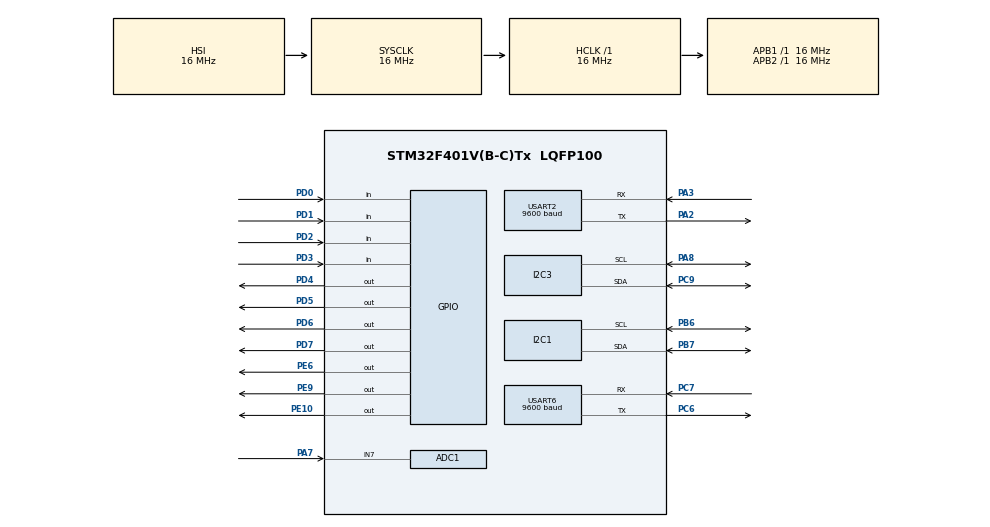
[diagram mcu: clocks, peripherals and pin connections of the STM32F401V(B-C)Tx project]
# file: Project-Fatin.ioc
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ADC1.Channel-1\#ChannelRegularConversion=ADC_CHANNEL_7
ADC1.ContinuousConvMode=ENABLE
ADC1.NbrOfConversionFlag=1
ADC1.Rank-1\#ChannelRegularConversion=1
ADC1.Resolution=ADC_RESOLUTION_12B
ADC1.SamplingTime-1\#ChannelRegularConversion=ADC_SAMPLETIME_3CYCLES
ADC1.master=1
Mcu.Family=STM32F4
Mcu.Name=STM32F401V(B-C)Tx
Mcu.Package=LQFP100
NVIC.PriorityGroup=NVIC_PRIORITYGROUP_4
NVIC.TIM4_IRQn=true\:0\:0\:false\:false\:true\:true\:true\:true
PA13.Mode=Serial_Wire
PA13.Signal=SYS_JTMS-SWDIO
PA14.Mode=Serial_Wire
PA14.Signal=SYS_JTCK-SWCLK
PA2.Mode=Asynchronous
PA2.Signal=USART2_TX
PA3.Mode=Asynchronous
PA3.Signal=USART2_RX
PA7.Signal=ADCx_IN7
PA8.Mode=I2C
PA8.Signal=I2C3_SCL
PB6.Mode=I2C
PB6.Signal=I2C1_SCL
PB7.Mode=I2C
PB7.Signal=I2C1_SDA
PC6.Mode=Asynchronous
PC6.Signal=USART6_TX
PC7.Mode=Asynchronous
PC7.Signal=USART6_RX
PC9.Mode=I2C
PC9.Signal=I2C3_SDA
PD0.GPIO_PuPd=GPIO_PULLUP
PD0.Signal=GPIO_Input
PD1.GPIO_PuPd=GPIO_PULLUP
PD1.Signal=GPIO_Input
PD2.GPIO_PuPd=GPIO_PULLUP
PD2.Signal=GPIO_Input
PD3.GPIO_PuPd=GPIO_PULLUP
PD3.Signal=GPIO_Input
PD4.Signal=GPIO_Output
PD5.Signal=GPIO_Output
PD6.Signal=GPIO_Output
PD7.Signal=GPIO_Output
PE10.Signal=GPIO_Output
PE6.Signal=GPIO_Output
PE9.Signal=GPIO_Output
ProjectManager.HeapSize=0x200
ProjectManager.StackSize=0x400
ProjectManager.TargetToolchain=MDK-ARM V5
RCC.48MHZClocksFreq_Value=32000000
RCC.AHBFreq_Value=16000000
RCC.APB1Freq_Value=16000000
RCC.APB1TimFreq_Value=16000000
RCC.APB2Freq_Value=16000000
RCC.APB2TimFreq_Value=16000000
RCC.CortexFreq_Value=16000000
RCC.HCLKFreq_Value=16000000
RCC.HSE_VALUE=25000000
RCC.HSI_VALUE=16000000
RCC.LSE_VALUE=32768
RCC.PLLM=8
RCC.PLLN=64
RCC.SYSCLKFreq_VALUE=16000000
RCC.VCOOutputFreq_Value=128000000
SH.ADCx_IN7.0=ADC1_IN7,IN7
TIM4.Period=1000
TIM4.Prescaler=16000
USART2.BaudRate=9600
USART2.VirtualMode=VM_ASYNC
USART6.BaudRate=9600
USART6.VirtualMode=VM_ASYNC
VP_TIM4_VS_ClockSourceINT.Mode=Internal
board=custom

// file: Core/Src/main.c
/* USER CODE BEGIN Header */
/**
  ******************************************************************************
  * @file           : main.c
  * @brief          : Main program body
  ******************************************************************************
  * @attention
  *
  * Copyright (c) 2022 STMicroelectronics.
  * All rights reserved.
  *
  * This software is licensed under terms that can be found in the LICENSE file
  * in the root directory of this software component.
  * If no LICENSE file comes with this software, it is provided AS-IS.
  *
  ******************************************************************************
  */
/* USER CODE END Header */
#include "main.h"

/* USER CODE BEGIN Includes */
#include "lcd_i2cModule.h"
#include <stdio.h>
#include "string.h"
#include <math.h>
#include <stdarg.h>

/* USER CODE END Includes */

/* USER CODE BEGIN PD */
#define R1_PORT GPIOD
#define R1_PIN GPIO_PIN_7

#define R2_PORT GPIOD
#define R2_PIN GPIO_PIN_6

#define R3_PORT GPIOD
#define R3_PIN GPIO_PIN_5

#define R4_PORT GPIOD
#define R4_PIN GPIO_PIN_4

#define C1_PORT GPIOD
#define C1_PIN GPIO_PIN_3

#define C2_PORT GPIOD
#define C2_PIN GPIO_PIN_2

#define C3_PORT GPIOD
#define C3_PIN GPIO_PIN_1

#define C4_PORT GPIOD
#define C4_PIN GPIO_PIN_0

#define DS3231_ADDRESS 0xD0

#define avg 50

/* USER CODE END PD */

ADC_HandleTypeDef hadc1;

I2C_HandleTypeDef hi2c1;
I2C_HandleTypeDef hi2c3;

TIM_HandleTypeDef htim4;

UART_HandleTypeDef huart2;
UART_HandleTypeDef huart6;

/* USER CODE BEGIN PV */
struct {
	float voltage;
	float current;
	float power;
	float energy;
	float frequency;
	float pf;
	uint16_t alarms;
} currentValues;
struct {
	int seconds;
	int minutes;
	int hour;
	int dayofweek;
	int dayofmonth;
	int month;
	int year;
} time;

uint8_t buf[8] = { 0xF8, 0x04, 0x00, 0x00, 0x00, 0x0A, 0x64, 0x64 };
uint8_t rst_buf[4] = { 0xF8, 0x42, 0xC2, 0x41 };
uint8_t res_buf[25];
int ADC_VAL;
int ADC_res;
double adc_min = 0, adc_max = 0;
/* USER CODE END PV */

void SystemClock_Config(void);
static void MX_GPIO_Init(void);
static void MX_I2C3_Init(void);
static void MX_USART2_UART_Init(void);
static void MX_ADC1_Init(void);
static void MX_TIM4_Init(void);
static void MX_USART6_UART_Init(void);
static void MX_I2C1_Init(void);
/* USER CODE BEGIN PFP */
// Convert normal decimal numbers to binary coded decimal
uint8_t decToBcd(int val)
{
  return (uint8_t)( (val/10*16) + (val%10) );
}
// Convert binary coded decimal to normal decimal numbers
int bcdToDec(uint8_t val)
{
  return (int)( (val/16*10) + (val%16) );
}
void Set_Time (uint8_t sec, uint8_t min, uint8_t hour, uint8_t dow, uint8_t dom, uint8_t month, uint8_t year)
{
	uint8_t set_time[7];
	set_time[0] = decToBcd(sec);
	set_time[1] = decToBcd(min);
	set_time[2] = decToBcd(hour);
	set_time[3] = decToBcd(dow);
	set_time[4] = decToBcd(dom);
	set_time[5] = decToBcd(month);
	set_time[6] = decToBcd(year);

	HAL_I2C_Mem_Write(&hi2c1, DS3231_ADDRESS, 0x00, 1, set_time, 7, 1000);
}

void Get_Time (void)
{
	uint8_t get_time[7];
	HAL_I2C_Mem_Read(&hi2c1, DS3231_ADDRESS, 0x00, 1, get_time, 7, 1000);
	time.seconds = bcdToDec(get_time[0]);
	time.minutes = bcdToDec(get_time[1]);
	time.hour = bcdToDec(get_time[2]);
	time.dayofweek = bcdToDec(get_time[3]);
	time.dayofmonth = bcdToDec(get_time[4]);
	time.month = bcdToDec(get_time[5]);
	time.year = bcdToDec(get_time[6]);
}

/* USER CODE END PFP */

/* USER CODE BEGIN 0 */
char read_keypads(void)
{
	HAL_GPIO_WritePin(R1_PORT, R1_PIN, GPIO_PIN_RESET);
	HAL_GPIO_WritePin(R2_PORT, R2_PIN, GPIO_PIN_SET);
	HAL_GPIO_WritePin(R3_PORT, R3_PIN, GPIO_PIN_SET);
	HAL_GPIO_WritePin(R4_PORT, R4_PIN, GPIO_PIN_SET);

	if (HAL_GPIO_ReadPin(C1_PORT, C1_PIN)==GPIO_PIN_RESET)
	{
		if(HAL_GPIO_ReadPin(C1_PORT, C1_PIN) == GPIO_PIN_RESET)
		{
			return '1';
		}
	}
	if (HAL_GPIO_ReadPin(C2_PORT, C2_PIN)==GPIO_PIN_RESET)
	{
		if(HAL_GPIO_ReadPin(C2_PORT, C2_PIN) == GPIO_PIN_RESET)
		{
			return '2';
		}
	}
	if (HAL_GPIO_ReadPin(C3_PORT, C3_PIN)==GPIO_PIN_RESET)
	{
		if(HAL_GPIO_ReadPin(C3_PORT, C3_PIN) == GPIO_PIN_RESET)
		{
			return '3';
		}
	}
	if (HAL_GPIO_ReadPin(C4_PORT, C4_PIN)==GPIO_PIN_RESET)
	{
		if(HAL_GPIO_ReadPin(C4_PORT, C4_PIN) == GPIO_PIN_RESET)
		{
			return 'a';
		}
	}

	HAL_GPIO_WritePin(R1_PORT, R1_PIN, GPIO_PIN_SET);
	HAL_GPIO_WritePin(R2_PORT, R2_PIN, GPIO_PIN_RESET);
	HAL_GPIO_WritePin(R3_PORT, R3_PIN, GPIO_PIN_SET);
	HAL_GPIO_WritePin(R4_PORT, R4_PIN, GPIO_PIN_SET);

	if (HAL_GPIO_ReadPin(C1_PORT, C1_PIN)==GPIO_PIN_RESET)
	{
		if(HAL_GPIO_ReadPin(C1_PORT, C1_PIN) == GPIO_PIN_RESET)
		{
			return '4';
		}
	}
	if (HAL_GPIO_ReadPin(C2_PORT, C2_PIN)==GPIO_PIN_RESET)
	{
		if(HAL_GPIO_ReadPin(C2_PORT, C2_PIN) == GPIO_PIN_RESET)
		{
			return '5';
		}
	}
	if (HAL_GPIO_ReadPin(C3_PORT, C3_PIN)==GPIO_PIN_RESET)
	{
		if(HAL_GPIO_ReadPin(C3_PORT, C3_PIN) == GPIO_PIN_RESET)
		{
			return '6';
		}
	}
	if (HAL_GPIO_ReadPin(C4_PORT, C4_PIN)==GPIO_PIN_RESET)
	{
		if(HAL_GPIO_ReadPin(C4_PORT, C4_PIN) == GPIO_PIN_RESET)
		{
			return 'b';
		}
	}

	HAL_GPIO_WritePin(R1_PORT, R1_PIN, GPIO_PIN_SET);
	HAL_GPIO_WritePin(R2_PORT, R2_PIN, GPIO_PIN_SET);
	HAL_GPIO_WritePin(R3_PORT, R3_PIN, GPIO_PIN_RESET);
	HAL_GPIO_WritePin(R4_PORT, R4_PIN, GPIO_PIN_SET);

	if (HAL_GPIO_ReadPin(C1_PORT, C1_PIN)==GPIO_PIN_RESET)
	{
		if(HAL_GPIO_ReadPin(C1_PORT, C1_PIN) == GPIO_PIN_RESET)
		{
			return '7';
		}
	}
	if (HAL_GPIO_ReadPin(C2_PORT, C2_PIN)==GPIO_PIN_RESET)
	{
		if(HAL_GPIO_ReadPin(C2_PORT, C2_PIN) == GPIO_PIN_RESET)
		{
			return '8';
		}
	}
	if (HAL_GPIO_ReadPin(C3_PORT, C3_PIN)==GPIO_PIN_RESET)
	{
		if(HAL_GPIO_ReadPin(C3_PORT, C3_PIN) == GPIO_PIN_RESET)
		{
			return '9';
		}
	}
	if (HAL_GPIO_ReadPin(C4_PORT, C4_PIN)==GPIO_PIN_RESET)
	{
		if(HAL_GPIO_ReadPin(C4_PORT, C4_PIN) == GPIO_PIN_RESET)
		{
			return 'c';
		}
	}

	HAL_GPIO_WritePin(R1_PORT, R1_PIN, GPIO_PIN_SET);
	HAL_GPIO_WritePin(R2_PORT, R2_PIN, GPIO_PIN_SET);
	HAL_GPIO_WritePin(R3_PORT, R3_PIN, GPIO_PIN_SET);
	HAL_GPIO_WritePin(R4_PORT, R4_PIN, GPIO_PIN_RESET);

	if (HAL_GPIO_ReadPin(C1_PORT, C1_PIN)==GPIO_PIN_RESET)
	{
		if(HAL_GPIO_ReadPin(C1_PORT, C1_PIN) == GPIO_PIN_RESET)
		{
			return '*';
		}
	}
	if (HAL_GPIO_ReadPin(C2_PORT, C2_PIN)==GPIO_PIN_RESET)
	{
		if(HAL_GPIO_ReadPin(C2_PORT, C2_PIN) == GPIO_PIN_RESET)
		{
			return '0';
		}
	}
	if (HAL_GPIO_ReadPin(C3_PORT, C3_PIN)==GPIO_PIN_RESET)
	{
		if(HAL_GPIO_ReadPin(C3_PORT, C3_PIN) == GPIO_PIN_RESET)
		{
			return '#';
		}
	}
	if (HAL_GPIO_ReadPin(C4_PORT, C4_PIN)==GPIO_PIN_RESET)
	{
		if(HAL_GPIO_ReadPin(C4_PORT, C4_PIN) == GPIO_PIN_RESET)
		{
			return 'd';
		}
	}
	return 0x01;
}

int result;

int ADC_GetData(){
		ADC_ChannelConfTypeDef sConfig = {0};
	  sConfig.Channel = ADC_CHANNEL_7;
	  sConfig.Rank = 1;
	  sConfig.SamplingTime = ADC_SAMPLETIME_3CYCLES;
	  if (HAL_ADC_ConfigChannel(&hadc1, &sConfig) != HAL_OK)
	  {
	    Error_Handler();
	  }
	  HAL_ADC_Start(&hadc1);
	  HAL_ADC_PollForConversion(&hadc1, 100);
	  result = HAL_ADC_GetValue(&hadc1);
	  HAL_ADC_Stop(&hadc1);
		return result;
}

double irms;
int sampleI;
int debugg = 555;

#define ADC_COUNTS  (1<<12)
double offsetI = ADC_COUNTS>>1;
double offsetADC = ADC_COUNTS>>1;
double filteredI;
double sqI;
double Irms;
double sumI;
double ICAL = 30;
uint8_t cmd[500]={0};
uint8_t printLen=0;
//--------------------------------------------------------------------------------------
double calcIrms(unsigned int Number_of_Samples)
{
  int SupplyVoltage=3300;

  for (unsigned int n = 0; n < Number_of_Samples; n++)
  {
    //sampleI = analogRead(inPinI);
    sampleI = ADC_GetData();

    // Digital low pass filter extracts the 2.5 V or 1.65 V dc offset,
    //  then subtract this - signal is now centered on 0 counts.
    offsetI = (offsetI + (sampleI-offsetI)/4096);

    // data yang sudah dikurang dengan offset
		filteredI = sampleI - offsetI;

    // Root-mean-square method current
    // 1) square current values
    sqI = filteredI * filteredI;
    // 2) sum (data akumulasi dari keseluruhan sampel)
    sumI += sqI;

		// sprintf(cmd,"%d\n",sampleI-2200);
		// HAL_UART_Transmit(&huart6,(uint8_t *)cmd,strlen(cmd),5);
  }
	double ADCrms = sqrt(sumI / Number_of_Samples);

	// konversi ke satuan (A) * kalibrasi
	double I_RATIO = ICAL * ((SupplyVoltage/1000.0) / (ADC_COUNTS));
  Irms = I_RATIO * ADCrms;

  //Reset accumulators
  sumI = 0;
  //-------------------------------------------------------------------------------------
  return Irms;
}

uint8_t key;
int timer_s = 99;
int timer_m = 99;
int timer_h = 99;
long double daya = 0;
long double daya_akumulasi = 0;
long double energy_akumulasi = 0.0;
long double tarif = 0;
long int s_waktu = 0, s_daya = 0, s_psswd = 0;
char s_nopln[13];
int buzz = 0, buzzernotif = 0;
int system_mode = 0;

uint8_t buffer[30] = {0};
/* USER CODE END 0 */

int main(void)
{
  /* USER CODE BEGIN 1 */
	double v, i;
	char rs1[20], rs2[20], rs3[20], rs4[20];
	char buff[16];
	int sms = 1;
	int set_end = 0;

	int h_start, m_start, s_start, day_start, month_start, year_start;
	int h_end, m_end, s_end, day_end, month_end, year_end;

	// gsm
	char msg[30];

  /* USER CODE END 1 */

  /* MCU Configuration--------------------------------------------------------*/

  /* Reset of all peripherals, Initializes the Flash interface and the Systick. */
  HAL_Init();

  /* Configure the system clock */
  SystemClock_Config();

  /* Initialize all configured peripherals */
  MX_GPIO_Init();
  MX_I2C3_Init();
  MX_USART2_UART_Init();
  MX_ADC1_Init();
  MX_TIM4_Init();
  MX_USART6_UART_Init();
  MX_I2C1_Init();
  /* USER CODE BEGIN 2 */

	LCD_i2cDeviceCheck();
	LCD_Init();
	LCD_BackLight(LCD_BL_ON);
	HAL_TIM_Base_Start_IT(&htim4);
	LCD_Clear();
  /* USER CODE END 2 */

  /* Infinite loop */
  /* USER CODE BEGIN WHILE */
	HAL_GPIO_WritePin(GPIOE, GPIO_PIN_6, GPIO_PIN_SET);

	// set waktu
	// parameter (detik, menit, jam, 0, tanggal, bulan, tahun)
	// Set_Time(00, 13, 22, 0, 2, 1, 23);
  while (1)
  {
    /* USER CODE END WHILE */

    /* USER CODE BEGIN 3 */

		// read PZEM

		HAL_UART_Transmit(&huart2, buf, 8, 20);
		HAL_UART_Receive(&huart2, res_buf, 25, 250);
		currentValues.voltage = ((uint32_t)res_buf[3] << 8 | // Raw voltage in 0.1V
														 (uint32_t)res_buf[4])/10.0;

		currentValues.current = ((uint32_t)res_buf[5] << 8 | // Raw current in 0.001A
														 (uint32_t)res_buf[6] |
														 (uint32_t)res_buf[7] << 24 |
														 (uint32_t)res_buf[8] << 16) / 1000.0;

		currentValues.power =   ((uint32_t)res_buf[9] << 8 | // Raw power in 0.1W
														 (uint32_t)res_buf[10] |
														 (uint32_t)res_buf[11] << 24 |
														 (uint32_t)res_buf[12] << 16) / 10.0;

		currentValues.energy =  ((uint32_t)res_buf[13] << 8 | // Raw Energy in 1Wh
														 (uint32_t)res_buf[14] |
														 (uint32_t)res_buf[15] << 24 |
														 (uint32_t)res_buf[16] << 16) / 1000.0;

		currentValues.frequency=((uint32_t)res_buf[17] << 8 | // Raw Frequency in 0.1Hz
														 (uint32_t)res_buf[18]) / 10.0;

		currentValues.pf =      ((uint32_t)res_buf[19] << 8 | // Raw pf in 0.01
														 (uint32_t)res_buf[20])/100.0;

		currentValues.alarms =  ((uint32_t)res_buf[21] << 8 | // Raw alarm value
														 (uint32_t)res_buf[22]);

		// read sct
		irms = calcIrms(10000);
		if(irms < 0.05)
			irms = 0.0;
		else if((irms > 0.05)&&(irms < 0.5))
			irms = irms - 0.05;
		else if(irms > 0.5)
			irms *= 0.92;

		if(irms < 0.05)
			irms = 0.0;

		// regresi linear
		// double Irms_baru = 0.9706 * irms + 0.03379;

		double Irms_baru = irms;

		/*
		sprintf(rs1," I=%.2fA", Irms_baru);
		LCD_SetCursor(1,1);
		LCD_Send_String(rs1, STR_NOSLIDE);
		sprintf(rs2," V=%.2fV", currentValues.voltage);
		LCD_SetCursor(2,1);
		LCD_Send_String(rs2, STR_NOSLIDE);
		sprintf(rs3," Cos Phi=%.2f", currentValues.pf);
		LCD_SetCursor(3,1);
		LCD_Send_String(rs3, STR_NOSLIDE);
		HAL_GPIO_WritePin(GPIOE, GPIO_PIN_9, GPIO_PIN_SET);
		*/

		if (system_mode == 0)
		{
			while(1)
			{
				HAL_GPIO_WritePin(GPIOE, GPIO_PIN_9, GPIO_PIN_RESET);
				LCD_SetCursor(1,1);
				LCD_Send_String("Waktu (menit):", STR_NOSLIDE);
				LCD_SetCursor(2,1);
				LCD_Send_String("> ", STR_NOSLIDE);
				LCD_SetCursor(4,1);
				LCD_Send_String("C: clear | D: submit", STR_NOSLIDE);
				key = read_keypads();
				if(key!=0x01)
				{
					if(key=='d')
					{
						timer_s = 0;
						if(s_waktu >= 60){
							timer_m = s_waktu%60;
							timer_h = (s_waktu-(s_waktu%60))/60;
						}
						else {
							timer_m = s_waktu;
							timer_h = 0;
						}
						system_mode = 1;
						LCD_Clear();
						HAL_Delay(200);
						break;
					}
					else if(key == 'c')
					{
						s_waktu = 0;
						LCD_Clear();
						continue;
					}
					else
					{
						LCD_SetCursor(2,3);
						s_waktu = s_waktu * 10 + ((int)key-48);
						sprintf(buff, "%ld", s_waktu);
						LCD_Send_String(buff, STR_NOSLIDE);
						HAL_Delay(200);
					}
				}
			}
		}
		else if(system_mode == 1)
		{
			while(1)
			{
				LCD_SetCursor(1,1);
				LCD_Send_String("Daya (VA) :", STR_NOSLIDE);
				LCD_SetCursor(2,1);
				LCD_Send_String("> ", STR_NOSLIDE);
				LCD_SetCursor(3,1);
				LCD_Send_String("           B: back", STR_NOSLIDE);
				LCD_SetCursor(4,1);
				LCD_Send_String("C: clear | D: submit", STR_NOSLIDE);
				key = read_keypads();
				if(key!=0x01)
				{
					if(key=='d')
					{
						// untuk set daya bebas
						if (1){

						// set pilihan daya hanya untuk 2200, 3500, 5500
						//if ((s_daya == 2200)||(s_daya == 3500)||(s_daya == 5500)){

							system_mode = 2;
							LCD_Clear();
							HAL_Delay(200);
							break;
						}
						else {
							LCD_Clear();
							LCD_SetCursor(1,1);
							LCD_Send_String("-Daya Tidak Valid!-", STR_NOSLIDE);
							s_daya = 0;
							HAL_Delay(2000);
							LCD_Clear();
						}
					}
					else if(key == 'c')
					{
						s_daya = 0;
						LCD_Clear();
						continue;
					}
					else if(key == 'b')
					{
						s_daya = 0;
						s_waktu = 0;
						system_mode = 0;
						LCD_Clear();
						break;
					}
					else
					{
						LCD_SetCursor(2,3);
						s_daya = s_daya *10 + ((int)key-48);
						sprintf(buff, "%ld", s_daya);
						LCD_Send_String(buff, STR_NOSLIDE);
						HAL_Delay(200);
					}
				}
			}
		}
		else if(system_mode == 2)
		{
			while(1)
			{
				HAL_GPIO_WritePin(GPIOA, GPIO_PIN_4, GPIO_PIN_RESET);
				LCD_SetCursor(1,1);
				LCD_Send_String("No Hp PLN :", STR_NOSLIDE);
				LCD_SetCursor(2,1);
				LCD_Send_String("> ", STR_NOSLIDE);
				LCD_SetCursor(3,1);
				LCD_Send_String("           B: back", STR_NOSLIDE);
				LCD_SetCursor(4,1);
				LCD_Send_String("C: clear | D: submit", STR_NOSLIDE);
				key = read_keypads();
				if(key!=0x01)
				{
					if(key=='d')
					{
						system_mode = 3;
						LCD_Clear();
						HAL_Delay(200);
						break;
					}
					else if(key == 'c')
					{
						int x = 0;
						for(x = 0; x < 13; x++)
							s_nopln[x] = NULL;
						LCD_Clear();
						continue;
					}
					else if(key == 'b')
					{
						for(int x = 0; x < 13; x++)
							s_nopln[x] = NULL;
						s_daya = 0;
						system_mode = 1;
						LCD_Clear();
						break;
					}
					else
					{
						LCD_SetCursor(2,3);
						char inp = key;
						strncat(s_nopln, &inp, 1);
						sprintf(buff, "%s", s_nopln);
						LCD_Send_String(buff, STR_NOSLIDE);
						HAL_Delay(200);
					}
				}
			}
		}
		else if(system_mode == 3)
		{
			while(1)
			{
				HAL_GPIO_WritePin(GPIOA, GPIO_PIN_4, GPIO_PIN_RESET);
				LCD_SetCursor(1,1);
				LCD_Send_String("Password : ", STR_NOSLIDE);
				LCD_SetCursor(2,1);
				LCD_Send_String("> ", STR_NOSLIDE);
				LCD_SetCursor(3,1);
				LCD_Send_String("           B: back", STR_NOSLIDE);
				LCD_SetCursor(4,1);
				LCD_Send_String("C: clear | D: submit", STR_NOSLIDE);
				key = read_keypads();
				if(key!=0x01)
				{
					if(key=='d')
					{
						sms = 1;
						if (s_psswd == 123456){
							system_mode = 5;
							Get_Time();
							h_start = time.hour;
							m_start = time.minutes;
							s_start = time.seconds;
							day_start = time.dayofmonth;
							month_start = time.month;
							year_start = time.year+2000;
						}
						else {
							LCD_Clear();
							LCD_SetCursor(1,1);
							LCD_Send_String("--Password Salah!!--", STR_NOSLIDE);
							s_psswd = 0;
							HAL_Delay(2000);
						}
						LCD_Clear();
						HAL_Delay(200);
						break;
					}
					else if(key == 'c')
					{
						s_psswd = 0;
						LCD_Clear();
						continue;
					}
					else if(key == 'b')
					{
						system_mode = 2;
						s_psswd = 0;
						for(int x = 0; x < 13; x++)
							s_nopln[x] = NULL;
						LCD_Clear();
						break;
					}
					else
					{
						LCD_SetCursor(2,3);
						s_psswd = s_psswd *10 + ((int)key-48);
						sprintf(buff, "%ld", s_psswd);
						LCD_Send_String(buff, STR_NOSLIDE);
						HAL_Delay(200);
					}
				}
			}
		}
		else if(system_mode == 4)
		{
			if(set_end == 0){
				Get_Time();
				h_end = time.hour;
				m_end = time.minutes;
				s_end = time.seconds;
				day_end = time.dayofmonth;
				month_end = time.month;
				year_end = time.year+2000;
				set_end = 1;
			}
			HAL_GPIO_WritePin(GPIOE, GPIO_PIN_6, GPIO_PIN_SET);
			HAL_GPIO_WritePin(GPIOE, GPIO_PIN_9, GPIO_PIN_RESET);
			LCD_Clear();

			sprintf(rs3,"Energy= %.4Lf kWh", energy_akumulasi/3600);
			if(tarif == 0.0)
				sprintf(rs4,"Tarif = Rp. 50000.0");
			else
				sprintf(rs4,"Tarif = Rp.%.2Lf", tarif+50000.0);

			LCD_SetCursor(1,1);
			LCD_Send_String("Penggunaan Selesai! ", STR_NOSLIDE);
			LCD_SetCursor(2,1);
			LCD_Send_String(rs3, STR_NOSLIDE);
			LCD_SetCursor(3,1);
			LCD_Send_String(rs4, STR_NOSLIDE);
			LCD_SetCursor(4,1);
			sprintf(buff, "Timer : %d:%d:%d", timer_h, timer_m, timer_s);
			LCD_Send_String(buff, STR_NOSLIDE);
			if(sms)
			{
				LCD_SetCursor(4,1);
				sprintf(rs1,"Check..");
				LCD_Send_String(rs1, STR_NOSLIDE);
				uint8_t flag=1;
				while(flag){
					printLen = snprintf((char*)cmd, 100, "AT\r\n");
					HAL_UART_Transmit(&huart6,cmd, printLen,1000);
					HAL_UART_Receive(&huart6, buffer, 30, 1000);
					HAL_Delay(500);

					if(strstr((char*)buffer, "OK")){
							flag=0;
					}
					HAL_Delay(500);
					memset(buffer,0,sizeof(buffer));
					flag=0;
				}
				sprintf(msg,"Send SMS...");
				LCD_SetCursor(4,1);
				LCD_Send_String(msg, STR_NOSLIDE);

				printLen = snprintf((char*)cmd, 100,"AT+CMGF=1\r\n");
				HAL_UART_Transmit(&huart6,cmd,printLen,1000);
				HAL_UART_Receive(&huart6, buffer, 30,1000);
				HAL_Delay(1000);

				printLen = snprintf((char*)cmd, 100, "AT+CSQ\r\n");
				HAL_UART_Transmit(&huart6,cmd,printLen,1000);
				HAL_UART_Receive(&huart6, buffer, 30,1000);
				HAL_Delay(1000);

				printLen = snprintf((char*)cmd, 100, "AT+CCID\r\n");
				HAL_UART_Transmit(&huart6,cmd,printLen,1000);
				HAL_UART_Receive(&huart6, buffer, 30,1000);
				HAL_Delay(1000);

				printLen = snprintf((char*)cmd, 100, "AT+CREG?\r\n");
				HAL_UART_Transmit(&huart6,cmd,printLen,1000);
				HAL_UART_Receive(&huart6, buffer, 30,1000);
				HAL_Delay(1000);

				memset(buffer,0,sizeof(buffer));

				printLen = snprintf((char*)cmd, 100, "AT+CMGS=\"%s\"\r\n", s_nopln);
				HAL_UART_Transmit(&huart6,cmd,printLen,50);
				HAL_Delay(100);
				printLen = snprintf((char*)cmd, 200, "Penggunaan Selesai!\nWaktu mulai   : %d:%d:%d %d-%d-%d \n"
					,h_start,m_start,s_start,day_start,month_start, year_start);
				HAL_UART_Transmit(&huart6, cmd, printLen, 100);
				HAL_Delay(100);
				printLen = snprintf((char*)cmd, 200, "Waktu selesai : %d:%d:%d %d-%d-%d \n"
					,h_end,m_end,s_end,day_end,month_end, year_end);
				HAL_UART_Transmit(&huart6, cmd, printLen, 100);
				HAL_Delay(100);

				printLen = snprintf((char*)cmd, 200, "Energy : %.3LfkW, Tarif : Rp. %.2Lf\n"
					,energy_akumulasi/3600.0, tarif+50000);
				HAL_UART_Transmit(&huart6, cmd, printLen, 100);

				printLen = snprintf((char*)cmd, 50, "%c", 26);
				HAL_UART_Transmit(&huart6, cmd, printLen, 50);

				HAL_Delay(100);
				HAL_UART_Receive(&huart6, buf, 30,1000);
				HAL_Delay(5000);

				LCD_Clear();
				LCD_SetCursor(4,1);
				sprintf(msg,"SMS Terkirim");
				LCD_Send_String(msg, STR_NOSLIDE);
				sms = 0;
			}
			key = read_keypads();
			if(key!=0x01)
				{
					if(key=='d')
					{
						system_mode = 0;
					}
					if(key=='a')
					{
						sms=1;
					}
				}
			HAL_Delay(2000);
		}
		else if (system_mode == 5){
			LCD_Clear();
			// relay
			HAL_GPIO_WritePin(GPIOE, GPIO_PIN_9, GPIO_PIN_SET);
			// read current from ADC pin

			v = currentValues.voltage;

			// i = currentValues.current;
			i = Irms_baru;

			sprintf(rs1,"V=%.2fV", v);
			sprintf(rs2," I=%.2fA", i);

			//daya = currentValues.power;
			daya = v*i;
			double limit = s_daya * 0.1;
			if(daya >= s_daya)
				system_mode = 6;
			if(daya >= s_daya-limit)
				buzzernotif = 1;
			if(daya <= s_daya-limit)
				buzzernotif = 0;

			if(daya > 100.0){
				long double dayakw = daya / 1000.0;
				sprintf(rs3,"Daya(pakai)=%.2Lf kW", dayakw);
			}
			else {
				sprintf(rs3,"Daya(pakai)=%.2Lf W", daya);
			}

			// sprintf(rs3,  "Energy = %.3Lf kWh",energy_akumulasi);
			if(tarif == 0.0)
				sprintf(rs4,"Tarif = Rp. 0.0");
			else if (tarif < 100.0)
				sprintf(rs4,"Tarif = Rp.%.4Lf", tarif);
			else
				sprintf(rs4,"Tarif = Rp.%.2Lf", tarif);

			LCD_SetCursor(1,1);
			LCD_Send_String(rs1, STR_NOSLIDE);
			LCD_SetCursor(1,11);
			LCD_Send_String(rs2, STR_NOSLIDE);
			LCD_SetCursor(2,1);
			LCD_Send_String(rs3, STR_NOSLIDE);
			LCD_SetCursor(3,1);
			LCD_Send_String(rs4, STR_NOSLIDE);
			LCD_SetCursor(4,1);
			sprintf(buff, "%d:%d:%d", timer_h, timer_m, timer_s);
			LCD_Send_String(buff, STR_NOSLIDE);
			LCD_SetCursor(4,11);
			sprintf(buff, "pf=%.2f", currentValues.pf);
			LCD_Send_String(buff, STR_NOSLIDE);

			key = read_keypads();
			if(key!=0x01)
			{
				if(key=='d')
				{
					system_mode = 4;
					Get_Time();
					h_end = time.hour;
					m_end = time.minutes;
					s_end = time.seconds;
					day_end = time.dayofmonth;
					month_end = time.month;
					year_end = time.year+2000;
				}
			}
		}

		else if(system_mode == 6)
		{
			HAL_GPIO_WritePin(GPIOE, GPIO_PIN_6, GPIO_PIN_SET);
			buzzernotif = 0;
			LCD_Clear();
			while(1)
			{
				HAL_GPIO_WritePin(GPIOE, GPIO_PIN_9, GPIO_PIN_RESET);
				LCD_SetCursor(1,1);
				LCD_Send_String("== Daya Berlebih! ==", STR_NOSLIDE);
				LCD_SetCursor(2,1);
				LCD_Send_String(" kurangi pemakaian! ", STR_NOSLIDE);
				LCD_SetCursor(3,1);
				LCD_Send_String("     (Tekan D)      ", STR_NOSLIDE);
				key = read_keypads();
				if(key!=0x01)
				{
					if(key=='d')
					{
						system_mode = 4;
						Get_Time();
						h_end = time.hour;
						m_end = time.minutes;
						s_end = time.seconds;
						day_end = time.dayofmonth;
						month_end = time.month;
						year_end = time.year+2000;
						LCD_Clear();
						break;
					}
				}
			}
		}

	}

  /* USER CODE END 3 */
}

void SystemClock_Config(void)
{
  RCC_OscInitTypeDef RCC_OscInitStruct = {0};
  RCC_ClkInitTypeDef RCC_ClkInitStruct = {0};

  /** Configure the main internal regulator output voltage
  */
  __HAL_RCC_PWR_CLK_ENABLE();
  __HAL_PWR_VOLTAGESCALING_CONFIG(PWR_REGULATOR_VOLTAGE_SCALE2);

  /** Initializes the RCC Oscillators according to the specified parameters
  * in the RCC_OscInitTypeDef structure.
  */
  RCC_OscInitStruct.OscillatorType = RCC_OSCILLATORTYPE_HSI;
  RCC_OscInitStruct.HSIState = RCC_HSI_ON;
  RCC_OscInitStruct.HSICalibrationValue = RCC_HSICALIBRATION_DEFAULT;
  RCC_OscInitStruct.PLL.PLLState = RCC_PLL_NONE;
  if (HAL_RCC_OscConfig(&RCC_OscInitStruct) != HAL_OK)
  {
    Error_Handler();
  }

  /** Initializes the CPU, AHB and APB buses clocks
  */
  RCC_ClkInitStruct.ClockType = RCC_CLOCKTYPE_HCLK|RCC_CLOCKTYPE_SYSCLK
                              |RCC_CLOCKTYPE_PCLK1|RCC_CLOCKTYPE_PCLK2;
  RCC_ClkInitStruct.SYSCLKSource = RCC_SYSCLKSOURCE_HSI;
  RCC_ClkInitStruct.AHBCLKDivider = RCC_SYSCLK_DIV1;
  RCC_ClkInitStruct.APB1CLKDivider = RCC_HCLK_DIV1;
  RCC_ClkInitStruct.APB2CLKDivider = RCC_HCLK_DIV1;

  if (HAL_RCC_ClockConfig(&RCC_ClkInitStruct, FLASH_LATENCY_0) != HAL_OK)
  {
    Error_Handler();
  }
}

static void MX_ADC1_Init(void)
{

  ADC_ChannelConfTypeDef sConfig = {0};

  /** Configure the global features of the ADC (Clock, Resolution, Data Alignment and number of conversion)
  */
  hadc1.Instance = ADC1;
  hadc1.Init.ClockPrescaler = ADC_CLOCK_SYNC_PCLK_DIV2;
  hadc1.Init.Resolution = ADC_RESOLUTION_12B;
  hadc1.Init.ScanConvMode = DISABLE;
  hadc1.Init.ContinuousConvMode = ENABLE;
  hadc1.Init.DiscontinuousConvMode = DISABLE;
  hadc1.Init.ExternalTrigConvEdge = ADC_EXTERNALTRIGCONVEDGE_NONE;
  hadc1.Init.ExternalTrigConv = ADC_SOFTWARE_START;
  hadc1.Init.DataAlign = ADC_DATAALIGN_RIGHT;
  hadc1.Init.NbrOfConversion = 1;
  hadc1.Init.DMAContinuousRequests = DISABLE;
  hadc1.Init.EOCSelection = ADC_EOC_SINGLE_CONV;
  if (HAL_ADC_Init(&hadc1) != HAL_OK)
  {
    Error_Handler();
  }

  /** Configure for the selected ADC regular channel its corresponding rank in the sequencer and its sample time.
  */
  sConfig.Channel = ADC_CHANNEL_7;
  sConfig.Rank = 1;
  sConfig.SamplingTime = ADC_SAMPLETIME_3CYCLES;
  if (HAL_ADC_ConfigChannel(&hadc1, &sConfig) != HAL_OK)
  {
    Error_Handler();
  }

}

static void MX_I2C1_Init(void)
{

  hi2c1.Instance = I2C1;
  hi2c1.Init.ClockSpeed = 100000;
  hi2c1.Init.DutyCycle = I2C_DUTYCYCLE_2;
  hi2c1.Init.OwnAddress1 = 0;
  hi2c1.Init.AddressingMode = I2C_ADDRESSINGMODE_7BIT;
  hi2c1.Init.DualAddressMode = I2C_DUALADDRESS_DISABLE;
  hi2c1.Init.OwnAddress2 = 0;
  hi2c1.Init.GeneralCallMode = I2C_GENERALCALL_DISABLE;
  hi2c1.Init.NoStretchMode = I2C_NOSTRETCH_DISABLE;
  if (HAL_I2C_Init(&hi2c1) != HAL_OK)
  {
    Error_Handler();
  }

}

static void MX_I2C3_Init(void)
{

  hi2c3.Instance = I2C3;
  hi2c3.Init.ClockSpeed = 100000;
  hi2c3.Init.DutyCycle = I2C_DUTYCYCLE_2;
  hi2c3.Init.OwnAddress1 = 0;
  hi2c3.Init.AddressingMode = I2C_ADDRESSINGMODE_7BIT;
  hi2c3.Init.DualAddressMode = I2C_DUALADDRESS_DISABLE;
  hi2c3.Init.OwnAddress2 = 0;
  hi2c3.Init.GeneralCallMode = I2C_GENERALCALL_DISABLE;
  hi2c3.Init.NoStretchMode = I2C_NOSTRETCH_DISABLE;
  if (HAL_I2C_Init(&hi2c3) != HAL_OK)
  {
    Error_Handler();
  }

}

static void MX_TIM4_Init(void)
{

  TIM_ClockConfigTypeDef sClockSourceConfig = {0};
  TIM_MasterConfigTypeDef sMasterConfig = {0};

  htim4.Instance = TIM4;
  htim4.Init.Prescaler = 16000;
  htim4.Init.CounterMode = TIM_COUNTERMODE_UP;
  htim4.Init.Period = 1000;
  htim4.Init.ClockDivision = TIM_CLOCKDIVISION_DIV1;
  htim4.Init.AutoReloadPreload = TIM_AUTORELOAD_PRELOAD_DISABLE;
  if (HAL_TIM_Base_Init(&htim4) != HAL_OK)
  {
    Error_Handler();
  }
  sClockSourceConfig.ClockSource = TIM_CLOCKSOURCE_INTERNAL;
  if (HAL_TIM_ConfigClockSource(&htim4, &sClockSourceConfig) != HAL_OK)
  {
    Error_Handler();
  }
  sMasterConfig.MasterOutputTrigger = TIM_TRGO_RESET;
  sMasterConfig.MasterSlaveMode = TIM_MASTERSLAVEMODE_DISABLE;
  if (HAL_TIMEx_MasterConfigSynchronization(&htim4, &sMasterConfig) != HAL_OK)
  {
    Error_Handler();
  }

}

static void MX_USART2_UART_Init(void)
{

  huart2.Instance = USART2;
  huart2.Init.BaudRate = 9600;
  huart2.Init.WordLength = UART_WORDLENGTH_8B;
  huart2.Init.StopBits = UART_STOPBITS_1;
  huart2.Init.Parity = UART_PARITY_NONE;
  huart2.Init.Mode = UART_MODE_TX_RX;
  huart2.Init.HwFlowCtl = UART_HWCONTROL_NONE;
  huart2.Init.OverSampling = UART_OVERSAMPLING_16;
  if (HAL_UART_Init(&huart2) != HAL_OK)
  {
    Error_Handler();
  }

}

static void MX_USART6_UART_Init(void)
{

  huart6.Instance = USART6;
  huart6.Init.BaudRate = 9600;
  huart6.Init.WordLength = UART_WORDLENGTH_8B;
  huart6.Init.StopBits = UART_STOPBITS_1;
  huart6.Init.Parity = UART_PARITY_NONE;
  huart6.Init.Mode = UART_MODE_TX_RX;
  huart6.Init.HwFlowCtl = UART_HWCONTROL_NONE;
  huart6.Init.OverSampling = UART_OVERSAMPLING_16;
  if (HAL_UART_Init(&huart6) != HAL_OK)
  {
    Error_Handler();
  }

}

static void MX_GPIO_Init(void)
{
  GPIO_InitTypeDef GPIO_InitStruct = {0};

  /* GPIO Ports Clock Enable */
  __HAL_RCC_GPIOE_CLK_ENABLE();
  __HAL_RCC_GPIOA_CLK_ENABLE();
  __HAL_RCC_GPIOC_CLK_ENABLE();
  __HAL_RCC_GPIOD_CLK_ENABLE();
  __HAL_RCC_GPIOB_CLK_ENABLE();

  /*Configure GPIO pin Output Level */
  HAL_GPIO_WritePin(GPIOE, GPIO_PIN_6|GPIO_PIN_9|GPIO_PIN_10, GPIO_PIN_RESET);

  /*Configure GPIO pin Output Level */
  HAL_GPIO_WritePin(GPIOD, GPIO_PIN_4|GPIO_PIN_5|GPIO_PIN_6|GPIO_PIN_7, GPIO_PIN_RESET);

  /*Configure GPIO pins : PE6 PE9 PE10 */
  GPIO_InitStruct.Pin = GPIO_PIN_6|GPIO_PIN_9|GPIO_PIN_10;
  GPIO_InitStruct.Mode = GPIO_MODE_OUTPUT_PP;
  GPIO_InitStruct.Pull = GPIO_NOPULL;
  GPIO_InitStruct.Speed = GPIO_SPEED_FREQ_LOW;
  HAL_GPIO_Init(GPIOE, &GPIO_InitStruct);

  /*Configure GPIO pins : PD0 PD1 PD2 PD3 */
  GPIO_InitStruct.Pin = GPIO_PIN_0|GPIO_PIN_1|GPIO_PIN_2|GPIO_PIN_3;
  GPIO_InitStruct.Mode = GPIO_MODE_INPUT;
  GPIO_InitStruct.Pull = GPIO_PULLUP;
  HAL_GPIO_Init(GPIOD, &GPIO_InitStruct);

  /*Configure GPIO pins : PD4 PD5 PD6 PD7 */
  GPIO_InitStruct.Pin = GPIO_PIN_4|GPIO_PIN_5|GPIO_PIN_6|GPIO_PIN_7;
  GPIO_InitStruct.Mode = GPIO_MODE_OUTPUT_PP;
  GPIO_InitStruct.Pull = GPIO_NOPULL;
  GPIO_InitStruct.Speed = GPIO_SPEED_FREQ_LOW;
  HAL_GPIO_Init(GPIOD, &GPIO_InitStruct);

}

/* USER CODE BEGIN 4 */

void HAL_TIM_PeriodElapsedCallback(TIM_HandleTypeDef *htim)
{
	if(system_mode == 5)
	{
		if((timer_h == 0)&&(timer_m == 0)&&(timer_s == 0))
		{
			timer_s = 0;
			if(s_waktu >= 60){
				timer_m = s_waktu%60;
				timer_h = (s_waktu-(s_waktu%60))/60;
			}
			else
				timer_m = s_waktu;
			system_mode = 4;
		}
		else {
			if(timer_s > 0){
				timer_s -= 1;
			}
			else {
				if(timer_m > 0){
					timer_m -= 1;
					timer_s = 59;
				}
				else {
					if(timer_h>0){
						timer_h -=1;
						timer_m = 59;
						timer_s = 59;
					}
				}
			}
			if ((timer_h == 0)&&(timer_m == 0)) {
				buzzernotif = 1;
			}
			if ((timer_h == 0)&&(timer_m == 0)&&(timer_s == 0)) {
				buzzernotif = 0;
			}
			if(buzzernotif == 1){
				if(buzz == 1){
					HAL_GPIO_WritePin(GPIOE, GPIO_PIN_6, GPIO_PIN_RESET);
					buzz = 0;
				}
				else {
					HAL_GPIO_WritePin(GPIOE, GPIO_PIN_6, GPIO_PIN_SET);
					buzz = 1;
				}
			}
			else {
					HAL_GPIO_WritePin(GPIOE, GPIO_PIN_6, GPIO_PIN_SET);
			}
			// harga untuk setpoint daya 2200
			if(s_daya <= 2200)
				daya_akumulasi = daya_akumulasi + (daya/1000.0) * 0.4013056;
			// harga untuk setpoint daya 3500 dan 5500
			else if((s_daya == 3500)||(s_daya == 5500))
				daya_akumulasi = daya_akumulasi + (daya/1000.0) * 0.47209167;
			else
				daya_akumulasi = daya_akumulasi + (daya/1000.0) * 0.4013056;

			energy_akumulasi = energy_akumulasi + (daya/1000.0);
			tarif  = daya_akumulasi;
		}
	}
}
/* USER CODE END 4 */

void Error_Handler(void)
{
  __disable_irq();
  while (1)
  {
  }
}
